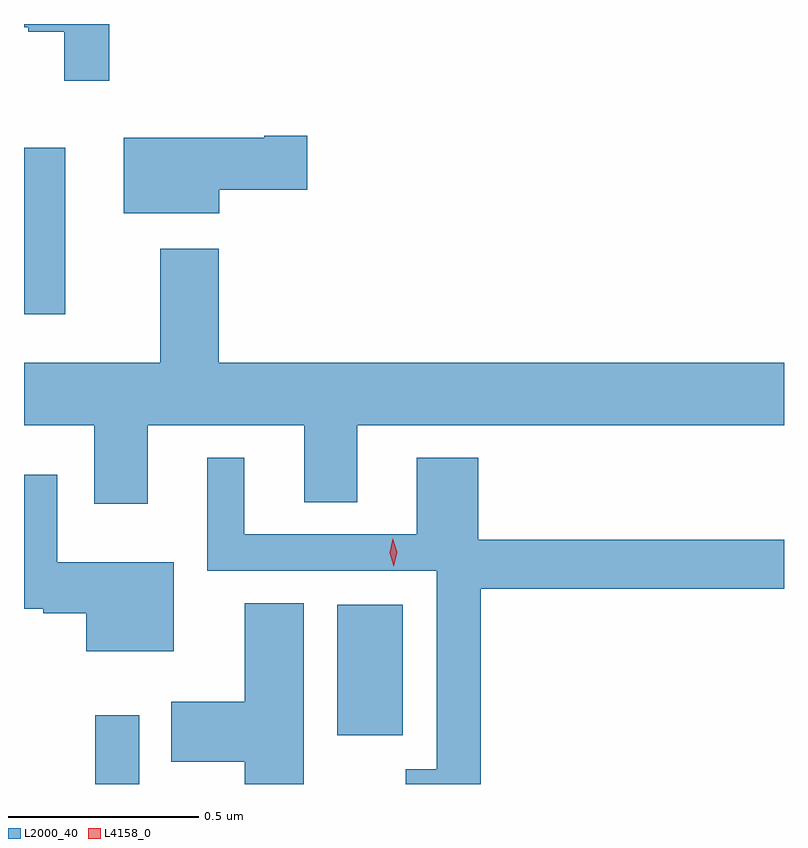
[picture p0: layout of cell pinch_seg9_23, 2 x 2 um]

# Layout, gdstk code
import gdstk
lib = gdstk.Library(unit=1e-6, precision=1e-09)
def R(c, l, rs):  # rectangles x0, y0, x1, y1
    for r in rs: c.add(gdstk.rectangle(r[:2], r[2:], *l))
def P(c, l, *ps):  # polygons
    for p in ps: c.add(gdstk.Polygon(p, *l))
L2000_40 = (2000, 40)
L4158_0 = (4158, 0)

pinch_seg9_23 = lib.new_cell('pinch_seg9_23')
R(pinch_seg9_23, L2000_40, [(958.585,1236.768,958.701,1236.949), (959.222,1236.896,959.395,1237.24), (958.398,1238.004,958.507,1238.443)])
P(pinch_seg9_23, L2000_40, [(958.622,1238.768),(958.398,1238.768),(958.398,1238.76),(958.409,1238.76),(958.409,1238.748),(958.504,1238.748),(958.504,1238.619),(958.622,1238.619)],
  [(958.912,1238.332),(959.143,1238.332),(959.143,1238.474),(959.03,1238.474),(959.03,1238.469),(958.661,1238.469),(958.661,1238.27),(958.912,1238.27)],
  [(958.723,1237.712),(959.135,1237.712),(959.135,1237.51),(959.275,1237.51),(959.275,1237.712),(960.398,1237.712),(960.398,1237.876),(958.91,1237.876),(958.91,1238.176),(958.757,1238.176),(958.757,1237.876),(958.398,1237.876),(958.398,1237.712),(958.583,1237.712),(958.583,1237.506),(958.723,1237.506)],
  [(959.6,1237.282),(960.398,1237.282),(960.398,1237.411),(959.594,1237.411),(959.594,1237.627),(959.432,1237.627),(959.432,1237.425),(958.978,1237.425),(958.978,1237.627),(958.88,1237.627),(958.88,1237.329),(959.484,1237.329),(959.484,1236.807),(959.403,1236.807),(959.403,1236.768),(959.6,1236.768)],
  [(958.792,1237.351),(958.486,1237.351),(958.486,1237.582),(958.398,1237.582),(958.398,1237.229),(958.449,1237.229),(958.449,1237.217),(958.562,1237.217),(958.562,1237.118),(958.792,1237.118)],
  [(959.134,1237.244),(958.979,1237.244),(958.979,1236.985),(958.786,1236.985),(958.786,1236.827),(958.979,1236.827),(958.979,1236.768),(959.134,1236.768)])
P(pinch_seg9_23, L4158_0, [(959.371,1237.341),(959.371,1237.341),(959.36,1237.377),(959.368,1237.413),(959.368,1237.413),(959.369,1237.413),(959.38,1237.378),(959.371,1237.341)])

lib.write_gds('pinch_seg9_23.gds')
